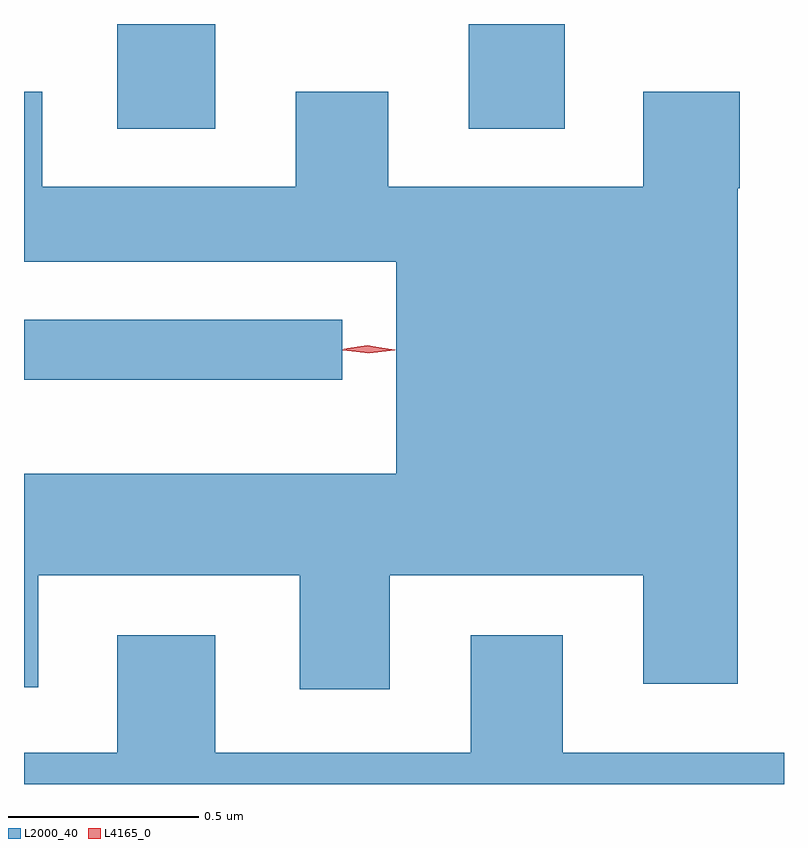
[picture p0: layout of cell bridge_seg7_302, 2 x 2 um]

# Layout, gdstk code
import gdstk
lib = gdstk.Library(unit=1e-6, precision=1e-09)
def R(c, l, rs):  # rectangles x0, y0, x1, y1
    for r in rs: c.add(gdstk.rectangle(r[:2], r[2:], *l))
def P(c, l, *ps):  # polygons
    for p in ps: c.add(gdstk.Polygon(p, *l))
L2000_40 = (2000, 40)
L4165_0 = (4165, 0)

bridge_seg7_302 = lib.new_cell('bridge_seg7_302')
R(bridge_seg7_302, L2000_40, [(1347.231,1777.726,1348.068,1777.884), (1347.476,1778.386,1347.734,1778.662), (1348.401,1778.386,1348.654,1778.662)])
P(bridge_seg7_302, L2000_40, [(1348.194,1777.211),(1348.861,1777.211),(1348.861,1776.926),(1349.109,1776.926),(1349.109,1778.23),(1349.114,1778.23),(1349.114,1778.484),(1348.861,1778.484),(1348.861,1778.234),(1348.189,1778.234),(1348.189,1778.484),(1347.946,1778.484),(1347.946,1778.234),(1347.279,1778.234),(1347.279,1778.484),(1347.231,1778.484),(1347.231,1778.036),(1348.211,1778.036),(1348.211,1777.479),(1347.231,1777.479),(1347.231,1776.916),(1347.269,1776.916),(1347.269,1777.211),(1347.956,1777.211),(1347.956,1776.911),(1348.194,1776.911)],
  [(1349.231,1776.744),(1348.649,1776.744),(1348.649,1777.054),(1348.406,1777.054),(1348.406,1776.744),(1347.734,1776.744),(1347.734,1777.054),(1347.476,1777.054),(1347.476,1776.744),(1347.231,1776.744),(1347.231,1776.662),(1349.231,1776.662)])
P(bridge_seg7_302, L4165_0, [(1348.139,1777.795),(1348.07,1777.804),(1348.07,1777.805),(1348.07,1777.805),(1348.139,1777.815),(1348.207,1777.805),(1348.208,1777.805),(1348.207,1777.804)],
  [(1348.135,1777.796),(1348.073,1777.808),(1348.073,1777.808),(1348.073,1777.808),(1348.136,1777.816),(1348.197,1777.805),(1348.197,1777.805),(1348.197,1777.804)])

lib.write_gds('bridge_seg7_302.gds')
